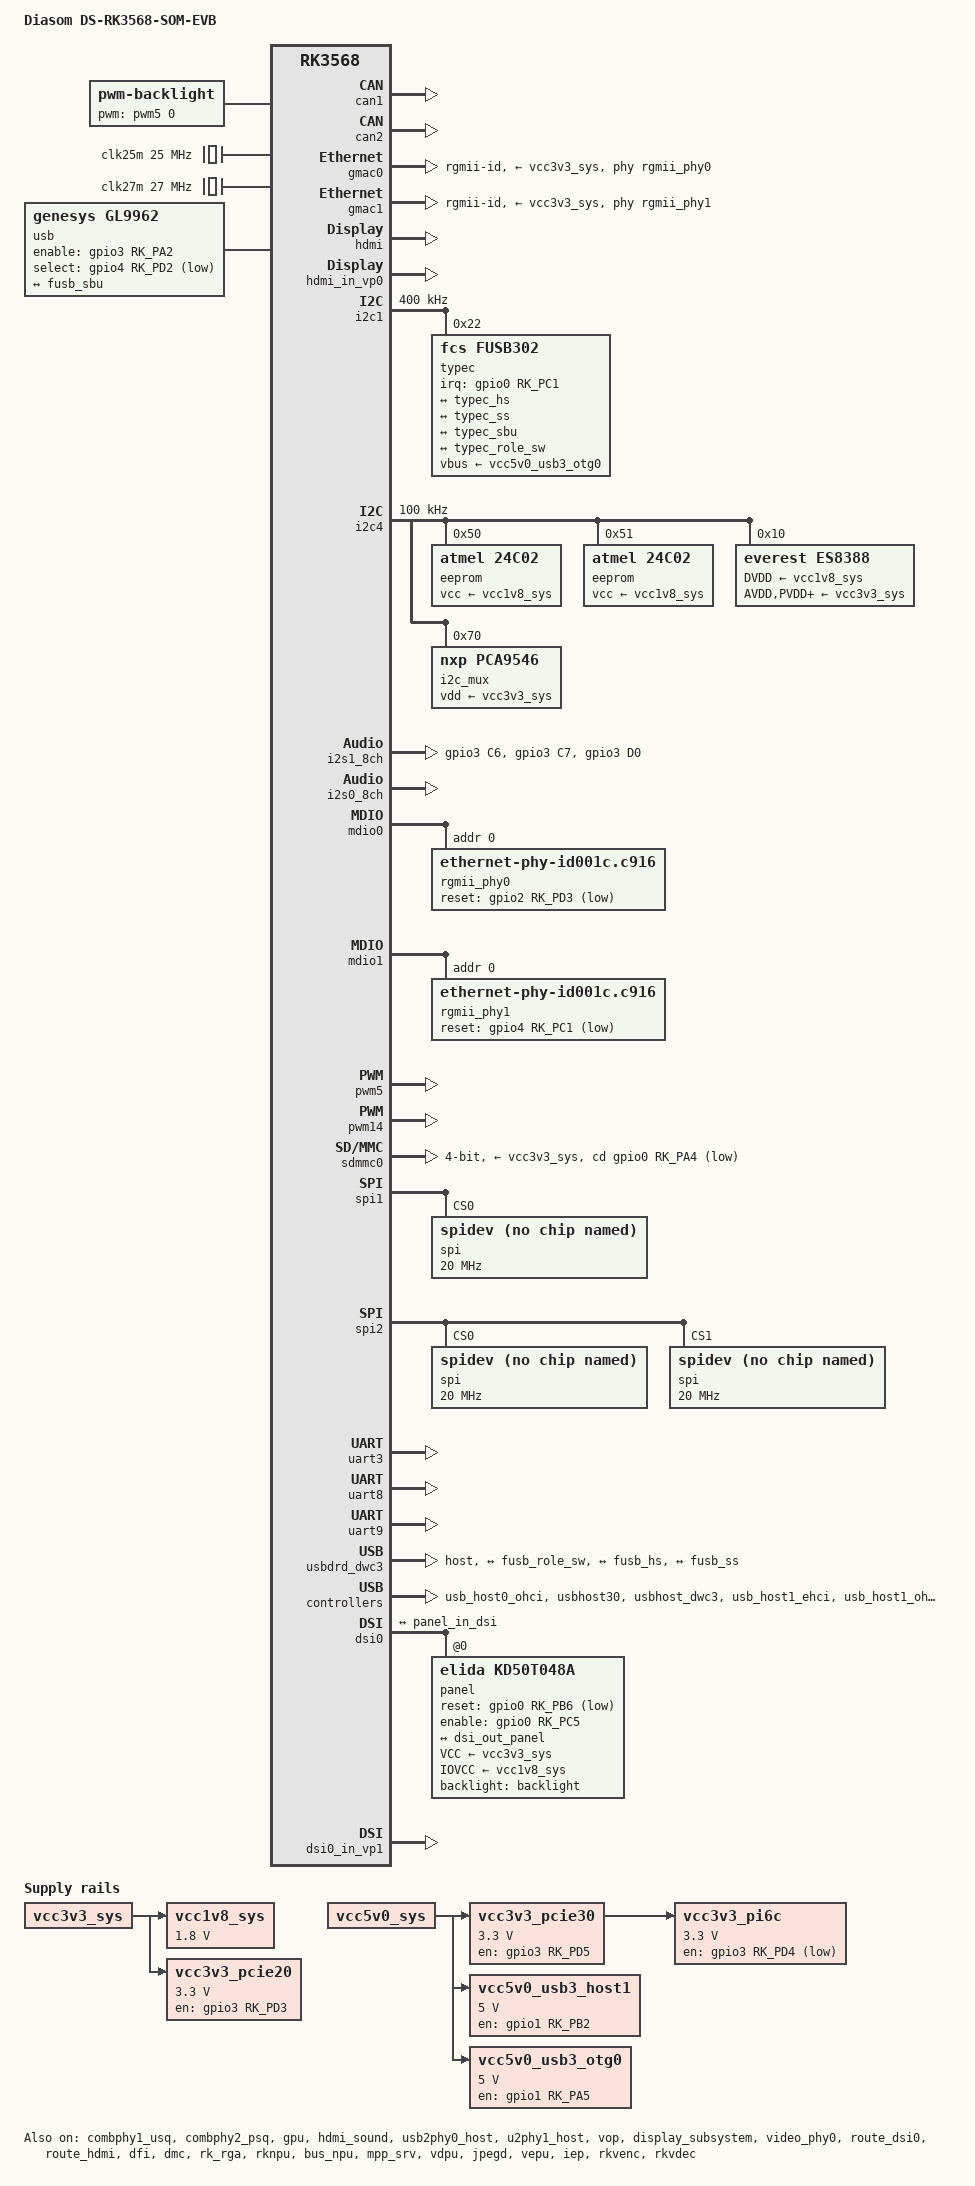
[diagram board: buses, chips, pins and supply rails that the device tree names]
// SPDX-License-Identifier: (GPL-2.0+ OR MIT)

/dts-v1/;
#include <dt-bindings/gpio/gpio.h>
#include <dt-bindings/leds/common.h>
#include <dt-bindings/pinctrl/rockchip.h>
#include <dt-bindings/soc/rockchip,vop2.h>
#include "rk3568.dtsi"
#include "rk3568-diasom-som.dtsi"
#include "rk3568-diasom-som-ver2.dtsi"

/ {
	model = "Diasom DS-RK3568-SOM-EVB";
	compatible = "diasom,ds-rk3568-som-evb",
		     "diasom,ds-rk3568-som",
		     "rockchip,rk3568";

	aliases {
		can0 = &can1;
		can1 = &can2;
		ethernet0 = &gmac0;
		ethernet1 = &gmac1;
		mmc0 = &sdhci;
		mmc1 = &sdmmc0;
	};

	backlight: backlight {
		compatible = "pwm-backlight";
		pwms = <&pwm5 0 25000 0>;
		brightness-levels = <0 255>;
		num-interpolated-steps = <256>;
		default-brightness-level = <255>;
	};

	clk25m: clk25m {
		compatible = "fixed-clock";
		clock-frequency = <25000000>;
		#clock-cells = <0>;
	};

	clk27m: clk27m {
		compatible = "fixed-clock";
		clock-frequency = <27000000>;
		#clock-cells = <0>;
	};

	usb {
		pinctrl-names = "default";
		pinctrl-0 = <&usbmux_pins>;
		compatible = "genesys,gl9962", "gpio-sbu-mux";
		enable-gpios = <&gpio3 RK_PA2 GPIO_ACTIVE_HIGH>;
		select-gpios = <&gpio4 RK_PD2 GPIO_ACTIVE_LOW>;
		orientation-switch;

		port {
			typec_sbu: endpoint {
				remote-endpoint = <&fusb_sbu>;
			};
		};
	};

	sound0: es8388-sound {
		compatible = "simple-audio-card";
		simple-audio-card,name = "ES8388";
		simple-audio-card,format = "i2s";
		simple-audio-card,bitclock-master = <&es8388_master>;
		simple-audio-card,frame-master = <&es8388_master>;

		es8388_master: simple-audio-card,cpu {
			sound-dai = <&i2s1_8ch>;
		};

		simple-audio-card,codec {
			sound-dai = <&es8388>;
		};
	};

	vcc1v8_sys: vcc1v8-sys-regulator {
		compatible = "regulator-fixed";
		regulator-name = "1v8_sys";
		regulator-always-on;
		regulator-boot-on;
		regulator-min-microvolt = <1800000>;
		regulator-max-microvolt = <1800000>;
		vin-supply = <&vcc3v3_sys>;
	};

	vcc3v3_pcie20: vcc3v3-pcie20-regulator {
		compatible = "regulator-fixed";
		enable-active-high;
		gpio = <&gpio3 RK_PD3 GPIO_ACTIVE_HIGH>;
		pinctrl-names = "default";
		pinctrl-0 = <&pcie20_pwr_pins>;
		regulator-name = "3v3_pcie20";
		regulator-min-microvolt = <3300000>;
		regulator-max-microvolt = <3300000>;
		startup-delay-us = <20000>;
		vin-supply = <&vcc3v3_sys>;
		status = "okay";
	};

	vcc3v3_pcie30: vcc3v3-pcie30-regulator {
		compatible = "regulator-fixed";
		enable-active-high;
		gpio = <&gpio3 RK_PD5 GPIO_ACTIVE_HIGH>;
		pinctrl-names = "default";
		pinctrl-0 = <&pcie30_pwr_pins>;
		regulator-name = "3v3_pcie30";
		regulator-min-microvolt = <3300000>;
		regulator-max-microvolt = <3300000>;
		startup-delay-us = <20000>;
		vin-supply = <&vcc5v0_sys>;
	};

	vcc3v3_pi6c: vcc3v3-pi6c-regulator {
		compatible = "regulator-fixed";
		regulator-always-on;
		regulator-boot-on;
		gpio = <&gpio3 RK_PD4 GPIO_ACTIVE_LOW>;
		pinctrl-names = "default";
		pinctrl-0 = <&pcie30_oe_pins>;
		regulator-name = "3v3_pi6c";
		regulator-min-microvolt = <3300000>;
		regulator-max-microvolt = <3300000>;
		startup-delay-us = <20000>;
		vin-supply = <&vcc3v3_pcie30>;
	};

	vcc5v0_usb3_host1: vcc5v0-usb3-host1-regulator {
		compatible = "regulator-fixed";
		enable-active-high;
		gpio = <&gpio1 RK_PB2 GPIO_ACTIVE_HIGH>;
		pinctrl-names = "default";
		pinctrl-0 = <&usb3_host1_en_pins>;
		regulator-name = "vcc5v0_usb3_host1";
		regulator-min-microvolt = <5000000>;
		regulator-max-microvolt = <5000000>;
		startup-delay-us = <20000>;
		vin-supply = <&vcc5v0_sys>;
		status = "okay";
	};

	vcc5v0_usb3_otg0: vcc5v0-usb3-otg0-regulator {
		compatible = "regulator-fixed";
		enable-active-high;
		gpio = <&gpio1 RK_PA5 GPIO_ACTIVE_LOW>;
		pinctrl-names = "default";
		pinctrl-0 = <&usb3_otg0_en_pins>;
		regulator-name = "vcc5v0_usb3_otg0";
		regulator-min-microvolt = <5000000>;
		regulator-max-microvolt = <5000000>;
		startup-delay-us = <20000>;
		vin-supply = <&vcc5v0_sys>;
		status = "okay";
	};
};

&can1 {
	pinctrl-names = "default";
	pinctrl-0 = <&can1m0_pins>;
	status = "okay";
};

&can2 {
	pinctrl-names = "default";
	pinctrl-0 = <&can2m0_pins>;
	status = "okay";
};

&combphy1_usq {
	status = "okay";
};

&combphy2_psq {
	phy-supply = <&vcc3v3_pcie20>;
	status = "okay";
};

&gmac0 {
	assigned-clocks = <&cru SCLK_GMAC0_RX_TX>, <&cru SCLK_GMAC0>;
	assigned-clock-parents = <&cru SCLK_GMAC0_RGMII_SPEED>;
	assigned-clock-rates = <0>, <125000000>;
	clock_in_out = "output";
	phy-handle = <&rgmii_phy0>;
	phy-mode = "rgmii-id";
	phy-supply = <&vcc3v3_sys>;
	pinctrl-names = "default";
	pinctrl-0 = <
		&gmac0_miim &gmac0_tx_bus2 &gmac0_rx_bus2
		&gmac0_rgmii_clk &gmac0_rgmii_bus
	>;
	status = "okay";
};

&gmac1 {
	assigned-clocks = <&cru SCLK_GMAC1_RX_TX>, <&cru SCLK_GMAC1>;
	assigned-clock-parents = <&cru SCLK_GMAC1_RGMII_SPEED>;
	assigned-clock-rates = <0>, <125000000>;
	clock_in_out = "output";
	phy-handle = <&rgmii_phy1>;
	phy-mode = "rgmii-id";
	phy-supply = <&vcc3v3_sys>;
	pinctrl-names = "default";
	pinctrl-0 = <
		&gmac1m1_miim &gmac1m1_tx_bus2 &gmac1m1_rx_bus2
		&gmac1m1_rgmii_clk &gmac1m1_rgmii_bus
	>;
	status = "okay";
};

&gpu {
	status = "okay";
};

&hdmi {
	status = "okay";
};

&hdmi_in_vp0 {
	status = "okay";
};

&hdmi_in_vp1 {
	status = "disabled";
};

&hdmi_sound {
	status = "okay";
};

&i2c1 {
	clock-frequency = <400000>;
	status = "okay";

	typec: usb@22 {
		compatible = "fcs,fusb302";
		reg = <0x22>;
		vbus-supply = <&vcc5v0_usb3_otg0>;
		pinctrl-names = "default";
		pinctrl-0 = <&fusb302_pins>;
		interrupt-parent = <&gpio0>;
		interrupts = <RK_PC1 IRQ_TYPE_LEVEL_LOW>;
		status = "okay";

		connector {
			compatible = "usb-c-connector";
			data-role = "host";
			label = "USB-C";
			pd-disable;
			power-role = "source";
			typec-power-opmode = "default";

			ports {
				#address-cells = <1>;
				#size-cells = <0>;

				port@0 {
					reg = <0>;
					fusb_hs: endpoint {
						remote-endpoint = <&typec_hs>;
					};
				};

				port@1 {
					reg = <1>;
					fusb_ss: endpoint {
						remote-endpoint = <&typec_ss>;
					};
				};

				port@2 {
					reg = <2>;
					fusb_sbu: endpoint {
						remote-endpoint = <&typec_sbu>;
					};
				};
			};
		};

		port {
			fusb_role_sw: endpoint {
				remote-endpoint = <&typec_role_sw>;
			};
		};
	};
};

&i2c4 {
	clock-frequency = <100000>;
	status = "okay";

	eeprom@50 {
		compatible = "atmel,24c02";
		reg = <0x50>;
		pagesize = <16>;
		vcc-supply = <&vcc1v8_sys>;
		#address-cells = <1>;
		#size-cells = <1>;

		mac0: mac-address@fa {
			reg = <0xfa 0x06>;
			read-only;
		};
	};

	eeprom@51 {
		compatible = "atmel,24c02";
		reg = <0x51>;
		pagesize = <16>;
		vcc-supply = <&vcc1v8_sys>;
		#address-cells = <1>;
		#size-cells = <1>;

		mac1: mac-address@fa {
			reg = <0xfa 0x06>;
			read-only;
		};
	};

	es8388: codec@10 {
		compatible = "everest,es8388";
		reg = <0x10>;
		assigned-clocks = <&cru I2S1_MCLKOUT_TX>;
		assigned-clock-rates = <12288000>;
		assigned-clock-parents = <&cru MCLK_I2S1_8CH_TX>;
		clocks = <&cru I2S1_MCLKOUT_TX>;
		DVDD-supply = <&vcc1v8_sys>;
		AVDD-supply = <&vcc3v3_sys>;
		PVDD-supply = <&vcc3v3_sys>;
		HPVDD-supply = <&vcc3v3_sys>;
		#sound-dai-cells = <0>;
	};

	i2c_mux: i2c-mux@70 {
		compatible = "nxp,pca9546";
		reg = <0x70>;
		i2c-mux-idle-disconnect;
		vdd-supply = <&vcc3v3_sys>;
		#address-cells = <1>;
		#size-cells = <0>;
		status = "okay";

		i2c6: i2c@0 {
			reg = <0>;
			#address-cells = <1>;
			#size-cells = <0>;
		};

		i2c7: i2c@1 {
			reg = <1>;
			#address-cells = <1>;
			#size-cells = <0>;
		};

		i2c8: i2c@2 {
			reg = <2>;
			#address-cells = <1>;
			#size-cells = <0>;
		};

		i2c9: i2c@3 {
			reg = <3>;
			#address-cells = <1>;
			#size-cells = <0>;
		};
	};
};

&i2s1_8ch {
	pinctrl-0 = <
		&i2s1_pins
		&i2s1m1_sdo0
		&i2s1m1_sdi0
	>;
	rockchip,trcm-sync-tx-only;
	status = "okay";
};

&i2s0_8ch {
	status = "okay";
};

&mdio0 {
	rgmii_phy0: ethernet-phy@0 {
		compatible = "ethernet-phy-id001c.c916", "ethernet-phy-ieee802.3-c22";
		reg = <0x0>;
		pinctrl-names = "default";
		pinctrl-0 = <&gmac0_rst_pins>;
		reset-assert-us = <20000>;
		reset-deassert-us = <100000>;
		reset-gpios = <&gpio2 RK_PD3 GPIO_ACTIVE_LOW>;
	};
};

&mdio1 {
	rgmii_phy1: ethernet-phy@0 {
		compatible = "ethernet-phy-id001c.c916", "ethernet-phy-ieee802.3-c22";
		reg = <0x0>;
		pinctrl-names = "default";
		pinctrl-0 = <&gmac1_rst_pins>;
		reset-assert-us = <20000>;
		reset-deassert-us = <100000>;
		reset-gpios = <&gpio4 RK_PC1 GPIO_ACTIVE_LOW>;
	};
};

&pcie2x1 {
	pinctrl-names = "default";
	pinctrl-0 = <&pcie20_pins>;
	reset-gpios = <&gpio1 RK_PB1 GPIO_ACTIVE_HIGH>;
	vpcie3v3-supply = <&vcc3v3_pcie20>;
	supports-clkreq;
	status = "disabled";
};

&pcie30phy {
	data-lanes = <1 1>;
	rockchip,pipe-grf = <&pipegrf>;
	phy-supply = <&vcc3v3_pi6c>;
	status = "disabled";
};

&pcie3x2 {
	pinctrl-names = "default";
	pinctrl-0 = <&pcie30_pins>;
	reset-gpios = <&gpio4 RK_PC4 GPIO_ACTIVE_HIGH>;
	vpcie3v3-supply = <&vcc3v3_pi6c>;
	supports-clkreq;
	status = "disabled";
};

&pinctrl {
	pinctrl-names = "default";
	pinctrl-0 = <&board_pins>;

	board {
		board_pins: board-pins {
			rockchip,pins =
				<1 RK_PA4 RK_FUNC_GPIO &pcfg_pull_up>,
				<1 RK_PA6 RK_FUNC_GPIO &pcfg_pull_up>,
				<1 RK_PA7 RK_FUNC_GPIO &pcfg_pull_up>,
				<1 RK_PB0 RK_FUNC_GPIO &pcfg_pull_up>;
		};
	};

	dsi {
		dsi_pins: dsi-pins {
			rockchip,pins =
				<0 RK_PC5 RK_FUNC_GPIO &pcfg_pull_up>,
				<0 RK_PB6 RK_FUNC_GPIO &pcfg_pull_up>;
		};
	};

	i2s {
		i2s1_pins: i2s1-pins {
			rockchip,pins =
				<3 RK_PC6 4 &pcfg_pull_none_smt>,
				<3 RK_PC7 4 &pcfg_pull_none_smt>,
				<3 RK_PD0 4 &pcfg_pull_none_smt>;
		};
	};

	net {
		gmac0_rst_pins: gmac0-rst-pins {
			rockchip,pins =
				<2 RK_PD3 RK_FUNC_GPIO &pcfg_pull_none>;
		};

		gmac1_rst_pins: gmac1-rst-pins {
			rockchip,pins =
				<4 RK_PC1 RK_FUNC_GPIO &pcfg_pull_none>;
		};
	};

	pcie20 {
		pcie20_pins: pcie20-pins {
			rockchip,pins =
				<2 RK_PD0 4 &pcfg_pull_none>,
				<2 RK_PD1 4 &pcfg_pull_none>,
				<1 RK_PB1 RK_FUNC_GPIO &pcfg_pull_none>;
		};

		pcie20_pwr_pins: pcie20-pwr-pins {
			rockchip,pins =
				<3 RK_PD3 RK_FUNC_GPIO &pcfg_pull_none>;
		};
	};

	pcie30 {
		pcie30_pins: pcie30-pins {
			rockchip,pins =
				<4 RK_PC2 4 &pcfg_pull_none>,
				<4 RK_PC3 4 &pcfg_pull_none>,
				<4 RK_PC4 RK_FUNC_GPIO &pcfg_pull_up>;
		};

		pcie30_oe_pins: pcie30-oe-pins {
			rockchip,pins =
				<3 RK_PD4 RK_FUNC_GPIO &pcfg_pull_none>;
		};

		pcie30_pwr_pins: pcie30-pwr-pins {
			rockchip,pins =
				<3 RK_PD5 RK_FUNC_GPIO &pcfg_pull_none>;
		};
	};

	usb {
		usb3_host1_en_pins: usb3-host1-en-pins {
			rockchip,pins =
				<1 RK_PB2 RK_FUNC_GPIO &pcfg_pull_none>;
		};

		usb3_otg0_en_pins: usb3-otg0-en-pins {
			rockchip,pins =
				<1 RK_PA5 RK_FUNC_GPIO &pcfg_pull_none>;
		};
	};

	usbmux {
		usbmux_pins: usbmux-pins {
			rockchip,pins =
				<4 RK_PD2 RK_FUNC_GPIO &pcfg_pull_up>,
				<3 RK_PA2 RK_FUNC_GPIO &pcfg_pull_none>;
		};
	};

	fusb302 {
		fusb302_pins: fusb302-pins {
			rockchip,pins =
				<0 RK_PC1 RK_FUNC_GPIO &pcfg_pull_up>;
		};
	};
};

&pwm5 {
	status = "okay";
};

&pwm14 {
	status = "okay";
};

&sdmmc0 {
	bus-width = <4>;
	cap-mmc-highspeed;
	cap-sd-highspeed;
	sd-uhs-sdr104;
	cd-gpios = <&gpio0 RK_PA4 GPIO_ACTIVE_LOW>;
	disable-wp;
	pinctrl-names = "default", "normal", "idle";
	pinctrl-0 = <&sdmmc0_bus4 &sdmmc0_clk &sdmmc0_cmd>;
	pinctrl-1 = <&sdmmc0_bus4 &sdmmc0_clk &sdmmc0_cmd>;
	pinctrl-2 = <&sdmmc0_bus4 &sdmmc0_clk &sdmmc0_cmd>;
	vmmc-supply = <&vcc3v3_sys>;
	vqmmc-supply = <&vccio_sd>;
	status = "okay";
};

&spi1 {
	pinctrl-0 = <&spi1m1_pins_hs &spi1m1_cs0_hs>;
	num-cs = <1>;
	status = "okay";

	spi@0 {
		compatible = "rohm,dh2228fv";
		reg = <0>;
		spi-max-frequency = <20000000>;
	};
};

&spi2 {
	pinctrl-0 = <&spi2m1_pins_hs &spi2m1_cs0_hs &spi2m1_cs1_hs>;
	num-cs = <2>;
	status = "okay";

	spi@0 {
		compatible = "rohm,dh2228fv";
		reg = <0>;
		spi-max-frequency = <20000000>;
	};

	spi@1 {
		compatible = "rohm,dh2228fv";
		reg = <1>;
		spi-max-frequency = <20000000>;
	};
};

&uart3 {
	pinctrl-0 = <&uart3m1_xfer>;
	status = "okay";
};

&uart7 {
	status = "disabled";
};

&uart8 {
	pinctrl-0 = <&uart8m0_xfer>;
	status = "okay";
};

&uart9 {
	pinctrl-0 = <&uart9m1_xfer>;
	status = "okay";
};

&usbdrd_dwc3 {
	dr_mode = "host";

	port {
		typec_role_sw: endpoint {
			remote-endpoint = <&fusb_role_sw>;
		};
	};

	ports {
		#address-cells = <1>;
		#size-cells = <0>;

		port@0 {
			reg = <0>;
			typec_hs: endpoint {
				remote-endpoint = <&fusb_hs>;
			};
		};

		port@1 {
			reg = <1>;
			typec_ss: endpoint {
				remote-endpoint = <&fusb_ss>;
			};
		};
	};
};

&usb_host0_ohci {
	status = "okay";
};

&usbhost30 {
	status = "okay";
};

&usbhost_dwc3 {
	status = "okay";
};

&usb_host1_ehci {
	status = "okay";
};

&usb_host1_ohci {
	status = "okay";
};

&usb2phy0_host {
	phy-supply = <&vcc5v0_usb3_host1>;
	status = "okay";
};

&u2phy1_host {
	status = "okay";
};

&vop {
	vop-supply = <&vdd_logic>;
	assigned-clocks = <&cru DCLK_VOP0>, <&cru DCLK_VOP1>;
	assigned-clock-parents = <&pmucru PLL_HPLL>, <&cru PLL_VPLL>;
	status = "okay";
};

&vop_mmu {
	status = "okay";
};

&drm_logo {
	status = "disabled";
};

&drm_cubic_lut {
	status = "disabled";
};

&display_subsystem {
	status = "okay";
};

&dsi0 {
	status = "okay";

	panel@0 {
		pinctrl-names = "default";
		pinctrl-0 = <&dsi_pins>;
		compatible = "elida,kd50t048a", "sitronix,st7701";
		reg = <0>;
		backlight = <&backlight>;
		reset-gpios = <&gpio0 RK_PB6 GPIO_ACTIVE_LOW>;
		enable-gpios = <&gpio0 RK_PC5 GPIO_ACTIVE_HIGH>;
		VCC-supply = <&vcc3v3_sys>;
		IOVCC-supply = <&vcc1v8_sys>;

		ports {
			#address-cells = <1>;
			#size-cells = <0>;

			port@0 {
				reg = <0>;

				panel_in_dsi: endpoint {
					remote-endpoint = <&dsi_out_panel>;
				};
			};
		};
	};

	ports {
		#address-cells = <1>;
		#size-cells = <0>;

		port@1 {
			reg = <1>;

			dsi_out_panel: endpoint {
				remote-endpoint = <&panel_in_dsi>;
			};
		};
	};
};

&video_phy0 {
	status = "okay";
};

&dsi0_in_vp1 {
	status = "okay";
};

&route_dsi0 {
	status = "okay";
	connect = <&vp1_out_dsi0>;
};

&route_hdmi {
	status = "okay";
	connect = <&vp0_out_hdmi>;
};

&dfi {
	status = "okay";
};

&dmc {
	center-supply = <&vdd_logic>;
	status = "okay";
};

&rk_rga {
	status = "okay";
};

&rknpu {
	rknpu-supply = <&vdd_npu>;
	status = "okay";
};

&rknpu_mmu {
	status = "okay";
};

&bus_npu {
	bus-supply = <&vdd_logic>;
	status = "okay";
};

&mpp_srv {
	status = "okay";
};

&vdpu {
	status = "okay";
};

&vdpu_mmu {
	status = "okay";
};

&jpegd {
	status = "okay";
};

&jpegd_mmu {
	status = "okay";
};

&vepu {
	status = "okay";
};

&vepu_mmu {
	status = "okay";
};

&iep {
	status = "okay";
};

&iep_mmu {
	status = "okay";
};

&rkvenc {
	status = "okay";
};

&rkvenc_mmu {
	status = "okay";
};

&rkvdec {
	status = "okay";
};

&rkvdec_mmu {
	status = "okay";
};
